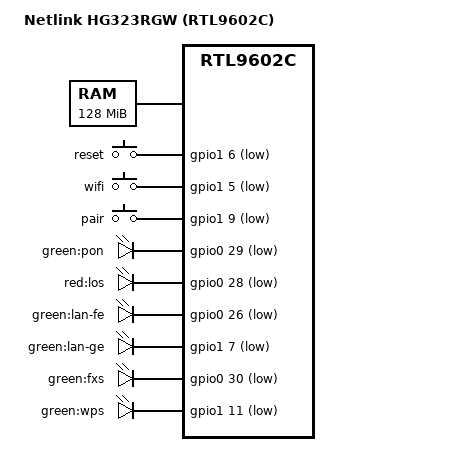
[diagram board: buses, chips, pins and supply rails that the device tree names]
// SPDX-License-Identifier: GPL-2.0-or-later
/* Experimental bring-up, based on this unit's verified boot log.
 * Front-panel LEDs (gpio-leds) and buttons (gpio-keys-polled) are declared
 * below; optical pad routing is deliberately undeclared.
 * Persistent install: only k0 (kernel) and r0 (squashfs root + rootfs_data
 * overlay) are writable; U-Boot, both env copies, config (ISP data, Wi-Fi
 * calibration) and framework1 stay read-only.
 */
/dts-v1/;
#include "rtl9602c.dtsi"
/ {
 model = "Netlink HG323RGW (RTL9602C)";
 compatible = "netlink,hg323rgw", "realtek,rtl9602c";
 /* Split-socket mode is part of this image, not something typed in U-Boot:
  * without port_vlans=1 both copper sockets share one segment, and a wired
  * IoT device would sit on the home LAN. hw_nat=0 keeps the switch's L34
  * offload out of the datapath until it is measured with this layout. */
 chosen { stdout-path = "serial0:115200n8"; bootargs = "console=ttyS0,115200 rtl9602c_eth.port_vlans=1 rtl9602c_eth.hw_nat=0"; };
 aliases { serial0 = &uart0; };
 memory@0 { device_type = "memory"; reg = <0 0x08000000>; };
 reserved-memory {
  #address-cells = <1>; #size-cells = <1>; ranges;
  stock-reserved@6eff000 { no-map; reg = <0x06eff000 0x00101000>; };
  stock-reserved@7eff000 { no-map; reg = <0x07eff000 0x00101000>; };
 };
 /* Front-panel lamps, all on SoC GPIOs and all active-low. Mapped on this
  * unit 2026-11-15/16: FE/GE/WPS from the stock kernel's LED table
  * (0x80b015b0) and board init (0x80c1def8); PON, LOS and FXS from a
  * camera-watched GPIO scan (PON/LOS pads are shared with switch LED-controller
  * outputs 12/13; stock never drove FXS). POWER is hardwired; WIFI is the
  * radio's own LED (rtl8192fe-phy0). LOS is red only (2-pad LED; its extra
  * resistor network also lets the optical module's LOS output light it, which
  * is why it is red at power-on before this driver claims the pin).
  * FE/GE LAN default to the Ethernet driver's per-socket link triggers
  * (swport0-link / swport1-link: port 0 = FE, port 1 = GE per the register map
  * and the X111W reference); every trigger can be changed in LuCI
  * (System > LED Configuration) or /etc/config/system. The rest start off.
  * Do not use GPIO 17 (UART0 TX pad) or GPIO 32 (resets the board). */
 /* Front-panel buttons, active-low, mapped on this unit 2026-11-16 by
  * watching the stock button inputs (stock reads GPIO 37/38/41) while each
  * button was pressed. Polled: the luna GPIO driver has no interrupt
  * support. gpio-button-hotplug turns them into /etc/rc.button events:
  * RST -> reset (short press reboots, >= 5 s factory reset), WIFI -> rfkill
  * (double press toggles the radios), PAIR -> wps (/etc/rc.wps: light show). */
 keys {
  compatible = "gpio-keys-polled";
  poll-interval = <20>;
  key-reset {
   label = "reset";
   gpios = <&gpio1 6 1>;	/* stock GPIO 38, "RST" */
   linux,code = <0x198>;	/* KEY_RESTART */
   debounce-interval = <60>;
  };
  key-wifi {
   label = "wifi";
   gpios = <&gpio1 5 1>;	/* stock GPIO 37, "WIFI" */
   linux,code = <0xf7>;	/* KEY_RFKILL */
   debounce-interval = <60>;
  };
  key-pair {
   label = "pair";
   gpios = <&gpio1 9 1>;	/* stock GPIO 41, "PAIR" */
   linux,code = <0x211>;	/* KEY_WPS_BUTTON */
   debounce-interval = <60>;
  };
 };
 leds {
  compatible = "gpio-leds";
  led-pon {
   label = "green:pon";
   gpios = <&gpio0 29 1>;	/* stock GPIO 29 */
   default-state = "off";
  };
  led-los {
   label = "red:los";
   gpios = <&gpio0 28 1>;	/* stock GPIO 28 */
   default-state = "off";
  };
  led-lan-fe {
   label = "green:lan-fe";
   gpios = <&gpio0 26 1>;	/* stock GPIO 26 */
   default-state = "off";
   linux,default-trigger = "swport0-link";
  };
  led-lan-ge {
   label = "green:lan-ge";
   gpios = <&gpio1 7 1>;	/* stock GPIO 39 */
   default-state = "off";
   linux,default-trigger = "swport1-link";
  };
  led-fxs {
   label = "green:fxs";
   gpios = <&gpio0 30 1>;	/* stock GPIO 30 */
   default-state = "off";
  };
  led-wps {
   label = "green:wps";
   gpios = <&gpio1 11 1>;	/* stock GPIO 43 */
   default-state = "off";
  };
 };
};
&gpon { status = "disabled"; };
&spi_nor {
 partitions {
  compatible = "fixed-partitions";
  #address-cells = <1>; #size-cells = <1>;
  partition@0 { label = "boot"; reg = <0x0 0x40000>; read-only; };
  partition@40000 { label = "env"; reg = <0x40000 0x2000>; read-only; };
  partition@42000 { label = "env2"; reg = <0x42000 0x2000>; read-only; };
  partition@44000 { label = "config"; reg = <0x44000 0xbc000>; read-only; };
  /* The stock U-Boot boots k0 (bootm b4100000) and passes root=31:5, so r0
   * must stay the sixth partition (mtd5): never add one before it.
   * CONFIG_MTD_CMDLINE_PARTS is off, so U-Boot's mtdparts= is ignored and
   * these nodes are the layout. linux,rootfs: MTD_SPLIT_SQUASHFS_ROOT carves
   * rootfs_data from the space after the squashfs. sysupgrade
   * (lib/upgrade/platform.sh) writes the partitions named k0 and r0. */
  partition@100000 { label = "k0"; reg = <0x100000 0x400000>; };
  partition@500000 { label = "r0"; reg = <0x500000 0x800000>; linux,rootfs; };
  partition@d00000 { label = "framework1"; reg = <0xd00000 0x300000>; read-only; };
 };
};

/* Factory LAN MAC: each unit has its own (ELAN_MAC_ADDR in its `config`
 * partition, the MAC printed on the case label). Without one the driver falls
 * back to the MAC engine's shared silicon default, so give your unit its MAC,
 * either here:
 *	&nic { mac-address = [xx xx xx xx xx xx]; };
 * (the driver takes a DT mac-address first), or with netlink/unit.json, which
 * the overlay generator turns into a UCI `macaddr` for eth0. Not committed:
 * it identifies one physical device. */
